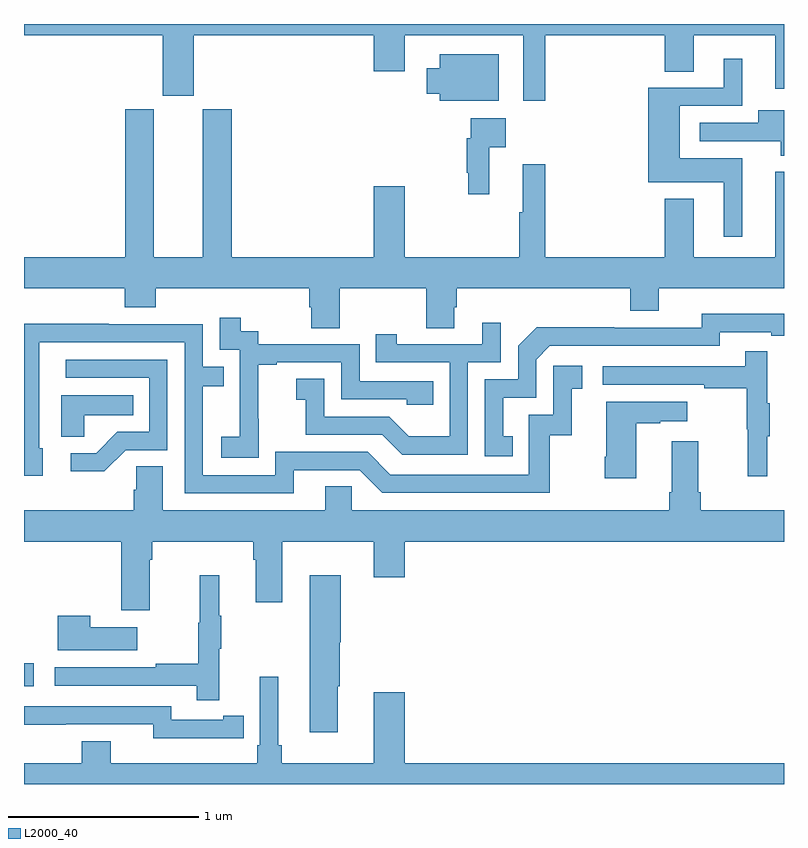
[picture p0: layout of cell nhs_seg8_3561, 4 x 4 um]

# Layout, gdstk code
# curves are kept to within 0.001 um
import gdstk
lib = gdstk.Library(unit=1e-6, precision=1e-09)
def R(c, l, rs):  # rectangles x0, y0, x1, y1
    for r in rs: c.add(gdstk.rectangle(r[:2], r[2:], *l))
def P(c, l, *ps):  # polygons
    for p in ps: c.add(gdstk.Polygon(p, *l))
L2000_40 = (2000, 40)

nhs_seg8_3561 = lib.new_cell('nhs_seg8_3561')
R(nhs_seg8_3561, L2000_40, [(331,1106.415,331.051,1106.535)])
P(nhs_seg8_3561, L2000_40, [(333.743,1109.84),(334.373,1109.84),(334.373,1109.65),(334.525,1109.65),(334.525,1109.84),(334.955,1109.84),(334.955,1109.559),(335,1109.559),(335,1109.9),(331,1109.9),(331,1109.84),(331.73,1109.84),(331.73,1109.523),(331.894,1109.523),(331.894,1109.84),(332.84,1109.84),(332.84,1109.652),(333.004,1109.652),(333.004,1109.84),(333.627,1109.84),(333.627,1109.496),(333.743,1109.496)],
  [(333.499,1109.74),(333.188,1109.74),(333.188,1109.668),(333.119,1109.668),(333.119,1109.534),(333.188,1109.534),(333.188,1109.495),(333.499,1109.495)],
  [(334.78,1109.194),(334.45,1109.194),(334.45,1109.469),(334.78,1109.469),(334.78,1109.716),(334.682,1109.716),(334.682,1109.565),(334.286,1109.565),(334.286,1109.066),(334.682,1109.066),(334.682,1108.779),(334.78,1108.779)],
  [(332.661,1108.508),(333.118,1108.508),(333.118,1108.3),(333.265,1108.3),(333.265,1108.41),(333.278,1108.41),(333.278,1108.508),(334.19,1108.508),(334.19,1108.391),(334.342,1108.391),(334.342,1108.508),(335,1108.508),(335,1109.122),(334.955,1109.122),(334.955,1108.672),(334.525,1108.672),(334.525,1108.981),(334.373,1108.981),(334.373,1108.672),(333.743,1108.672),(333.743,1109.161),(333.626,1109.161),(333.626,1108.908),(333.607,1108.908),(333.607,1108.672),(333.004,1108.672),(333.004,1109.047),(332.84,1109.047),(332.84,1108.672),(332.093,1108.672),(332.093,1109.451),(331.94,1109.451),(331.94,1108.672),(331.684,1108.672),(331.684,1109.451),(331.532,1109.451),(331.532,1108.672),(331,1108.672),(331,1108.508),(331.529,1108.508),(331.529,1108.409),(331.694,1108.409),(331.694,1108.508),(332.501,1108.508),(332.501,1108.41),(332.513,1108.41),(332.513,1108.3),(332.661,1108.3)],
  [(335,1109.446),(334.865,1109.446),(334.865,1109.379),(334.557,1109.379),(334.557,1109.283),(334.982,1109.283),(334.982,1109.207),(335,1109.207)],
  [(333.449,1109.252),(333.535,1109.252),(333.535,1109.404),(333.351,1109.404),(333.351,1109.3),(333.331,1109.3),(333.331,1109.116),(333.339,1109.116),(333.339,1109.004),(333.449,1109.004)],
  [(333.572,1107.729),(333.523,1107.729),(333.523,1107.933),(333.696,1107.933),(333.696,1108.134),(333.768,1108.206),(334.662,1108.206),(334.662,1108.278),(334.934,1108.278),(334.934,1108.258),(335,1108.258),(335,1108.374),(334.566,1108.375),(334.566,1108.302),(334.106,1108.302),(334.106,1108.304),(333.698,1108.304),(333.6,1108.206),(333.6,1108.029),(333.426,1108.029),(333.426,1107.624),(333.572,1107.624)],
  [(332.235,1107.823),(332.234,1107.823),(332.234,1108.107),(332.329,1108.107),(332.329,1108.119),(332.67,1108.119),(332.67,1107.924),(333.015,1107.924),(333.015,1107.897),(333.155,1107.897),(333.155,1108.02),(332.766,1108.02),(332.766,1108.215),(332.232,1108.215),(332.232,1108.284),(332.14,1108.284),(332.14,1108.354),(332.031,1108.354),(332.031,1108.185),(332.136,1108.185),(332.136,1107.956),(332.135,1107.956),(332.135,1107.727),(332.037,1107.727),(332.037,1107.617),(332.235,1107.617)],
  [(333.336,1108.119),(333.51,1108.119),(333.51,1108.327),(333.413,1108.327),(333.413,1108.215),(332.962,1108.215),(332.962,1108.267),(332.851,1108.267),(332.851,1108.119),(333.24,1108.119),(333.24,1107.73),(333.026,1107.73),(332.922,1107.834),(332.58,1107.834),(332.58,1108.033),(332.433,1108.033),(332.433,1107.923),(332.482,1107.923),(332.482,1107.738),(332.885,1107.738),(332.99,1107.633),(333.336,1107.633)],
  [(332.419,1107.552),(332.766,1107.552),(332.886,1107.432),(333.766,1107.432),(333.766,1107.735),(333.884,1107.735),(333.884,1107.981),(333.937,1107.981),(333.937,1108.102),(333.786,1108.102),(333.786,1107.843),(333.657,1107.843),(333.657,1107.528),(332.928,1107.528),(332.808,1107.648),(332.322,1107.648),(332.322,1107.525),(331.941,1107.525),(331.941,1107.994),(332.051,1107.994),(332.051,1108.095),(331.941,1108.095),(331.941,1108.32),(331.445,1108.32),(331.445,1108.322),(331,1108.322),(331,1107.522),(331.099,1107.522),(331.099,1107.666),(331.08,1107.666),(331.08,1108.224),(331.845,1108.224),(331.845,1107.429),(332.419,1107.429)],
  [(334.913,1107.731),(334.924,1107.731),(334.924,1107.905),(334.913,1107.905),(334.913,1108.177),(334.795,1108.177),(334.795,1108.098),(334.047,1108.098),(334.047,1108.002),(334.579,1108.002),(334.579,1107.982),(334.803,1107.982),(334.803,1107.768),(334.81,1107.768),(334.81,1107.519),(334.913,1107.519)],
  [(331.536,1107.657),(331.755,1107.657),(331.755,1108.134),(331.221,1108.134),(331.221,1108.038),(331.659,1108.038),(331.659,1107.753),(331.49,1107.753),(331.379,1107.642),(331.245,1107.642),(331.245,1107.545),(331.423,1107.545)],
  [(331.317,1107.842),(331.574,1107.842),(331.574,1107.946),(331.196,1107.946),(331.196,1107.727),(331.317,1107.727)],
  [(334.222,1107.799),(334.349,1107.799),(334.349,1107.809),(334.492,1107.809),(334.492,1107.913),(334.064,1107.913),(334.064,1107.622),(334.057,1107.622),(334.057,1107.51),(334.222,1107.51)],
  [(331.663,1107.08),(331.676,1107.08),(331.676,1107.176),(332.207,1107.176),(332.207,1107.08),(332.219,1107.08),(332.219,1106.856),(332.359,1106.856),(332.359,1107.176),(332.84,1107.176),(332.84,1106.988),(333.004,1106.988),(333.004,1107.176),(335,1107.176),(335,1107.34),(334.562,1107.34),(334.562,1107.436),(334.549,1107.436),(334.549,1107.703),(334.409,1107.703),(334.409,1107.436),(334.397,1107.436),(334.397,1107.34),(332.724,1107.34),(332.724,1107.467),(332.585,1107.467),(332.585,1107.34),(331.729,1107.34),(331.729,1107.572),(331.59,1107.572),(331.59,1107.449),(331.577,1107.449),(331.577,1107.34),(331,1107.34),(331,1107.176),(331.511,1107.176),(331.511,1106.814),(331.663,1106.814)],
  [(332.027,1106.611),(332.038,1106.611),(332.038,1106.785),(332.027,1106.785),(332.027,1106.998),(331.924,1106.998),(331.924,1106.748),(331.917,1106.748),(331.917,1106.534),(331.693,1106.534),(331.693,1106.514),(331.161,1106.514),(331.161,1106.418),(331.909,1106.418),(331.909,1106.34),(332.027,1106.34)],
  [(332.65,1106.415),(332.663,1106.415),(332.663,1106.646),(332.668,1106.646),(332.668,1106.998),(332.504,1106.998),(332.504,1106.172),(332.65,1106.172)],
  [(331.597,1106.725),(331.349,1106.725),(331.349,1106.785),(331.178,1106.785),(331.178,1106.603),(331.597,1106.603)],
  [(335,1106.008),(333.004,1106.008),(333.004,1106.383),(332.84,1106.383),(332.84,1106.008),(332.357,1106.008),(332.357,1106.104),(332.338,1106.104),(332.338,1106.464),(332.241,1106.464),(332.241,1106.104),(332.228,1106.104),(332.228,1106.008),(331.456,1106.008),(331.456,1106.125),(331.304,1106.125),(331.304,1106.008),(331,1106.008),(331,1105.9),(335,1105.9)],
  [(332.048,1106.142),(332.156,1106.142),(332.156,1106.258),(332.048,1106.258),(332.048,1106.238),(331.776,1106.238),(331.776,1106.31),(331,1106.31),(331,1106.213),(331.22,1106.213),(331.22,1106.214),(331.68,1106.214),(331.68,1106.141),(332.048,1106.141)])

lib.write_gds('nhs_seg8_3561.gds')
